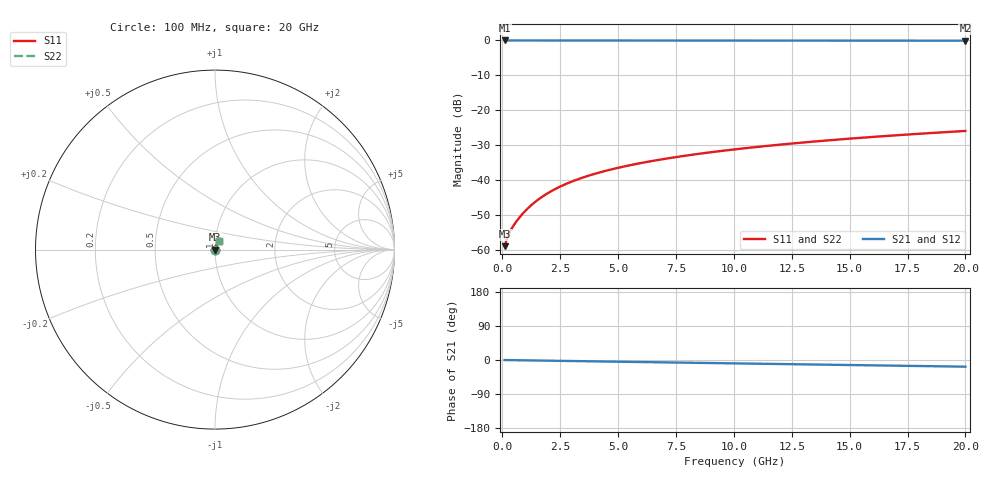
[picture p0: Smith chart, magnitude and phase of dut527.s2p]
! Touchstone file exported from HFSS 2026.1.0
!  File:  C:/ffzhzh/LocalFiles/Ansys_Project_Files/temp_train_TMRDL_527_1783007224_51716.aedt
!  Generated:  11:48:23 PM Jul  2, 2026
!  Design:  TMRDL
!  Project:  temp_train_TMRDL_527_1783007224_51716
! Variables:
!  h_bsmrdl = 2um
!  h_ox = 20um
!  h_rdl = 5um
!  h_sub = 80um
!  h_tmrdl = 4.7um
!  h_tsv = 80um
!  h_via = 3um
!  l_bsmrdl = 300um
!  l_sub = 693.12um
!  l_tmrdl = 293.12um
!  m_sub = 200um
!  pitch = 37.19um
!  r_tsv = 6um
!  s_tmrdl = 10um
!  w_bsmrdl = 18um
!  w_sub = 500um
!  w_tmrdl = 28.97um
!  x_tsv_center1 = 307.605um
!  x_tsv_center2 = 625.605um
!  x_tsv_center3 = 947.695um
!  x_tsv_center4 = 1265.695um
!  x_tsv_center5 = 1587.785um
!  x_tsv_center6 = 1905.785um
# GHz S MA R 50.000000
! Terminal data exported
! Port[1] = TM_RDL1_1_T1
! Port[2] = TM_RDL1_1_T2
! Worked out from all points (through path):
!   200 points, 100 MHz to 20 GHz, reference 50 ohm
!   highest |S21| = -0.01 dB at 100 MHz (marker M1); lowest = -0.1 dB at 20 GHz (marker M2)
!   group delay of S21, straight-line fit = 2.44 ps
!   lowest |S11| = -59.0 dB at 100 MHz (marker M3), VSWR 1.00, Z = 50.1 + j0.0511 ohm
!   |S11| at or under -10 dB: start of sweep to end of sweep
!   |S22| runs from -59.0 to -25.9 dB; largest |S21 - S12| = 6e-15
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0.1  0.001126 26.9  0.999 -0.1  0.999 -0.1  0.001126 26.9
! Gamma 0 0 0 0
! Port Impedance 50 0 50 0
0.2  0.001459 37.8  0.9989 -0.2  0.9989 -0.2  0.001459 37.8
0.3  0.001746 43.6  0.9987 -0.3  0.9987 -0.3  0.001746 43.6
0.4  0.002007 48.1  0.9987 -0.4  0.9987 -0.4  0.002007 48.1
0.5  0.002262 52.0  0.9986 -0.5  0.9986 -0.5  0.002262 52.0
0.7  0.00279 58.1  0.9985 -0.7  0.9985 -0.7  0.00279 58.1
0.9  0.003344 62.5  0.9985 -0.8  0.9985 -0.8  0.003344 62.5
1.3  0.004503 67.9  0.9984 -1.2  0.9984 -1.2  0.004503 67.9
1.5  0.005094 69.5  0.9983 -1.4  0.9983 -1.4  0.005094 69.5
1.8  0.005985 71.1  0.9982 -1.7  0.9982 -1.7  0.005985 71.1
2.3  0.007463 72.6  0.998 -2.1  0.998 -2.1  0.007463 72.6
2.9  0.009203 73.4  0.9977 -2.6  0.9977 -2.6  0.009203 73.4
3.5  0.0109 73.7  0.9975 -3.2  0.9975 -3.2  0.0109 73.7
4.2  0.01282 73.6  0.9971 -3.8  0.9971 -3.8  0.01282 73.6
5  0.01495 73.4  0.9968 -4.5  0.9968 -4.5  0.01495 73.4
5.9  0.01728 73.0  0.9964 -5.3  0.9964 -5.3  0.01728 73.0
6.8  0.01955 72.6  0.996 -6.1  0.996 -6.1  0.01956 72.6
8.3  0.02326 71.9  0.9954 -7.4  0.9954 -7.4  0.02326 71.9
10.1  0.02762 71.0  0.9948 -9.0  0.9948 -9.0  0.02762 70.9
13.4  0.03542 69.0  0.9937 -11.9  0.9937 -11.9  0.03542 69.0
16.7  0.04302 66.9  0.9927 -14.8  0.9927 -14.8  0.04302 66.8
20  0.05042 64.5  0.9918 -17.6  0.9918 -17.6  0.05042 64.5
